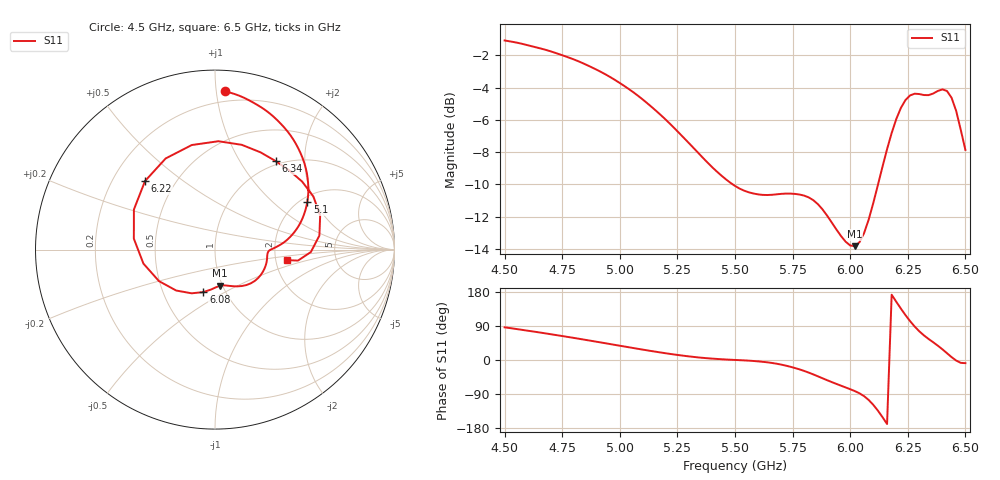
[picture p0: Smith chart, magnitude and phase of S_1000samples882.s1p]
! TOUCHSTONE file generated by CST MICROWAVE STUDIO
! Date and time: Sat Oct 29 16:44:46 2022
! Project name: L.cst
! Parameters = {Di=1.27; Epsilon_r=1.56; InnerDiameter=1.27; Length=2; Lf=10; Lg=60; OuterConductorThickness=0.2921; OuterDiameter=3.6; Wf=3; Wp=41.2; de=1.5; df=6.8; g=0.8; gx=1.47396; gy=4.29841; h=2.34; hf=1.524; px=12.6222; py=9.55015; w=9.7; wx=11.1482; wy=5.25175}
! Header version: 2018
! Port assignment regex: !\s*Touchstone port\s*([0-9]+)\s*=\s*(CST MWS port|CST DS port)\s*([0-9]+|Zmin|Zmax)\s*\(\"(.*)\"\)(\s*mode\s*([0-9]+))?.*
! Touchstone port assignment:
! Touchstone port 1 = CST MWS port 1 ("")
# GHz S DB R 50
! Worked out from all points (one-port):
!   101 points, 4.5 GHz to 6.5 GHz, reference 50 ohm
!   lowest |S11| = -13.8 dB at 6.02 GHz (marker M1), VSWR 1.51, Z = 48.7 - j20.4 ohm
!   |S11| at or under -10 dB: 5.49 GHz to 6.121 GHz (631.2 MHz wide, 10.9 % of centre)
!   S11 on the Smith chart (normalised r, x): 4.5 GHz: 0.13, +1.06; 5.1 GHz: 2.17, +1.74; 6.08 GHz: 0.79, -0.40; 6.22 GHz: 0.34, +0.37; 6.34 GHz: 0.94, +1.45; 6.5 GHz: 2.30, -0.32
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4.5  -1.07 86.2
4.64  -1.51 73.8
4.76  -2.04 62.3
4.88  -2.75 50.2
5  -3.72 37.7
5.1  -4.74 27.3
5.26  -6.85 12.6
5.5  -10.10 0.1
5.64  -10.66 -6.1
5.76  -10.59 -21.1
5.88  -11.56 -48.3
6  -13.80 -77.1
6.02  -13.84 -82.0
6.08  -12.20 -105.4
6.12  -10.05 -133.5
6.14  -8.92 -150.6
6.18  -6.82 172.3
6.2  -5.95 153.7
6.22  -5.26 135.6
6.24  -4.77 118.4
6.26  -4.48 102.5
6.3  -4.40 75.7
6.34  -4.47 55.6
6.38  -4.21 38.0
6.42  -4.21 18.0
6.46  -5.45 -1.5
6.48  -6.63 -7.5
6.5  -7.86 -8.3
